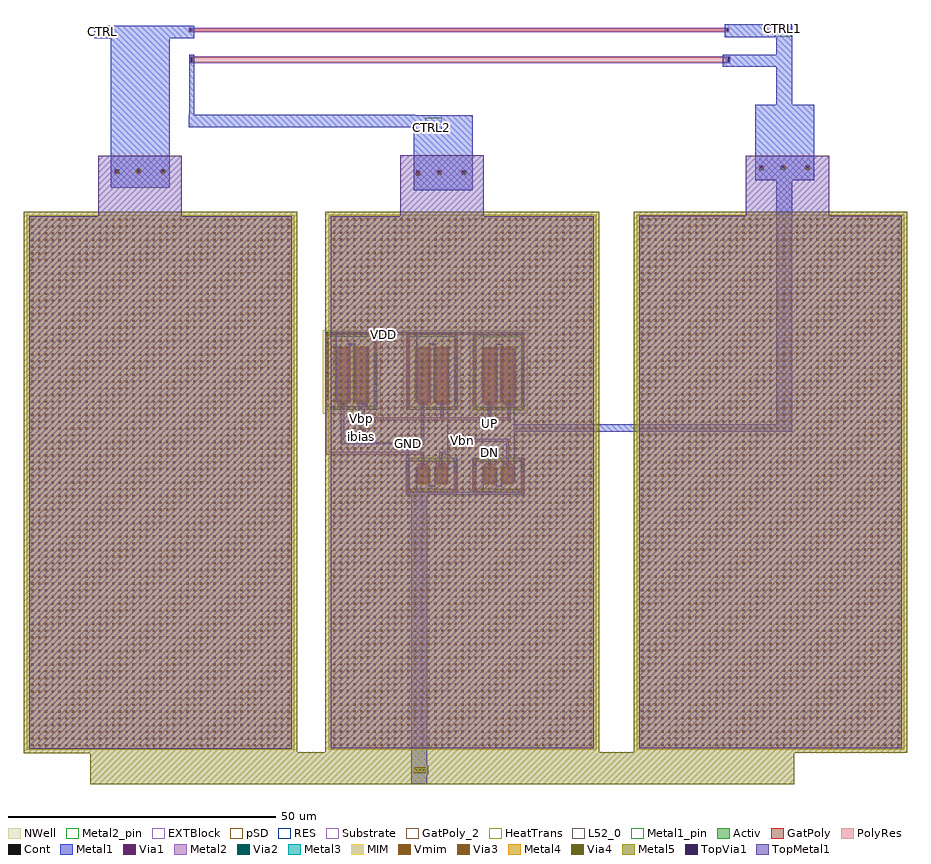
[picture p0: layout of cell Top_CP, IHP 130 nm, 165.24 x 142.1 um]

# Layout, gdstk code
from math import pi, radians
import gdstk
lib = gdstk.Library(unit=1e-6, precision=1e-09)
def R(c, l, rs):  # rectangles x0, y0, x1, y1
    for r in rs: c.add(gdstk.rectangle(r[:2], r[2:], *l))
def A(c, l, x, y, w, h, nx, ny, dx, dy):  # array of equal rectangles
    R(c, l, [(x+i*dx, y+j*dy, x+i*dx+w, y+j*dy+h) for i in range(nx) for j in range(ny)])
Activ = (1, 0)
GatPoly = (5, 0)
GatPoly_2 = (5, 2)
Cont = (6, 0)
Metal1 = (8, 0)
Metal1_pin = (8, 2)
Metal2 = (10, 0)
Metal2_pin = (10, 2)
pSD = (14, 0)
Via1 = (19, 0)
RES = (24, 0)
Via2 = (29, 0)
Metal3 = (30, 0)
NWell = (31, 0)
MIM = (36, 0)
Substrate = (40, 0)
Via3 = (49, 0)
Metal4 = (50, 0)
HeatTrans = (51, 0)
L52_0 = (52, 0)
Via4 = (66, 0)
Metal5 = (67, 0)
EXTBlock = (111, 0)
TopVia1 = (125, 0)
TopMetal1 = (126, 0)
PolyRes = (128, 0)
Vmim = (129, 0)

rsil_2 = lib.new_cell('rsil$2')
R(rsil_2, GatPoly, [(0,-0.35,1,0), (0,1,1,1.35)])
R(rsil_2, Cont, [(0.07,-0.28,0.93,-0.12), (0.07,1.12,0.93,1.28)])
R(rsil_2, Metal1, [(0.02,-0.33,0.98,-0.07), (0.02,1.07,0.98,1.33)])
R(rsil_2, Metal1_pin, [(0.02,-0.33,0.98,-0.07), (0.02,1.07,0.98,1.33)])
R(rsil_2, RES, [(0,0,1,1)])
R(rsil_2, L52_0, [(0,0,1,1)])
R(rsil_2, EXTBlock, [(-0.18,-0.53,1.18,0), (-0.18,0,1.18,1), (-0.18,0,1.18,1.53)])
R(rsil_2, PolyRes, [(0,0,1,1)])
rsil_2.add(gdstk.Label('rsil', (0.5,0.5), layer=52, texttype=0))
rsil_2.add(gdstk.Label('rsil r=15.9', (0.5,0.5), layer=63, texttype=0))

pmos_1 = lib.new_cell('pmos$1')
R(pmos_1, Activ, [(0,0,0.3,0.3), (0,0,2.68,10), (2.38,0,2.68,0.3)])
R(pmos_1, GatPoly, [(0.34,-0.18,2.34,10.18), (0.34,-0.18,2.34,10.18)])
A(pmos_1, Cont, 0.07, 0.07, 0.16, 0.16, 1, 4, 0, 0.345)
A(pmos_1, Cont, 2.45, 0.07, 0.16, 0.16, 1, 4, 0, 0.345)
A(pmos_1, Cont, 0.07, 1.455, 0.16, 0.16, 1, 3, 0, 0.345)
A(pmos_1, Cont, 2.45, 1.455, 0.16, 0.16, 1, 3, 0, 0.345)
A(pmos_1, Cont, 0.07, 2.495, 0.16, 0.16, 1, 4, 0, 0.345)
A(pmos_1, Cont, 2.45, 2.495, 0.16, 0.16, 1, 4, 0, 0.345)
A(pmos_1, Cont, 0.07, 3.88, 0.16, 0.16, 1, 3, 0, 0.345)
A(pmos_1, Cont, 2.45, 3.88, 0.16, 0.16, 1, 3, 0, 0.345)
A(pmos_1, Cont, 0.07, 4.92, 0.16, 0.16, 1, 4, 0, 0.345)
A(pmos_1, Cont, 2.45, 4.92, 0.16, 0.16, 1, 4, 0, 0.345)
A(pmos_1, Cont, 0.07, 6.305, 0.16, 0.16, 1, 3, 0, 0.345)
A(pmos_1, Cont, 2.45, 6.305, 0.16, 0.16, 1, 3, 0, 0.345)
A(pmos_1, Cont, 0.07, 7.345, 0.16, 0.16, 1, 4, 0, 0.345)
A(pmos_1, Cont, 2.45, 7.345, 0.16, 0.16, 1, 4, 0, 0.345)
A(pmos_1, Cont, 0.07, 8.73, 0.16, 0.16, 1, 3, 0, 0.345)
A(pmos_1, Cont, 2.45, 8.73, 0.16, 0.16, 1, 3, 0, 0.345)
R(pmos_1, Cont, [(0.07,9.77,0.23,9.93), (2.45,9.77,2.61,9.93)])
R(pmos_1, Metal1, [(0.07,0,0.23,10), (0.07,0,0.23,10), (2.45,0,2.61,10), (2.45,0,2.61,10)])
R(pmos_1, pSD, [(-0.18,-0.3,2.86,10.3)])
R(pmos_1, NWell, [(-0.31,-0.31,2.99,10.31)])
R(pmos_1, Substrate, [(2.38,0,2.68,0.3)])
R(pmos_1, HeatTrans, [(0.34,-0.18,2.34,10.18)])
pmos_1.add(gdstk.Label('pmos', (1.34,5), layer=63, texttype=0))
pmos_1.add(gdstk.Label('pmos', (1.34,5), layer=51, texttype=0))

nmos_1 = lib.new_cell('nmos$1')
R(nmos_1, Activ, [(0,0,0.3,0.3), (0,0,2.68,3), (2.38,0,2.68,0.3)])
R(nmos_1, GatPoly, [(0.34,-0.18,2.34,3.18)])
R(nmos_1, GatPoly_2, [(0.34,-0.18,2.34,3.18)])
A(nmos_1, Cont, 0.07, 0.07, 0.16, 0.16, 1, 7, 0, 0.385)
A(nmos_1, Cont, 2.45, 0.07, 0.16, 0.16, 1, 7, 0, 0.385)
R(nmos_1, Cont, [(0.07,2.77,0.23,2.93), (2.45,2.77,2.61,2.93)])
R(nmos_1, Metal1, [(0.07,0,0.23,3), (2.45,0,2.61,3)])
R(nmos_1, Metal1_pin, [(0.07,0,0.23,3), (2.45,0,2.61,3)])
R(nmos_1, HeatTrans, [(0.34,-0.18,2.34,3.18)])
nmos_1.add(gdstk.Label('nmos', (1.34,1.5), layer=63, texttype=0))
nmos_1.add(gdstk.Label('nmos', (1.34,1.5), layer=51, texttype=0))

rsil = lib.new_cell('rsil')
R(rsil, GatPoly, [(0,-0.35,0.5,0), (0,100,0.5,100.35)])
R(rsil, Cont, [(0.07,-0.28,0.43,-0.12), (0.07,100.12,0.43,100.28)])
R(rsil, Metal1, [(0.02,-0.33,0.48,-0.07), (0.02,100.07,0.48,100.33)])
R(rsil, Metal1_pin, [(0.02,-0.33,0.48,-0.07), (0.02,100.07,0.48,100.33)])
R(rsil, RES, [(0,0,0.5,100)])
R(rsil, L52_0, [(0,0,0.5,100)])
R(rsil, EXTBlock, [(-0.18,-0.53,0.68,0), (-0.18,0,0.68,100), (-0.18,0,0.68,100.53)])
R(rsil, PolyRes, [(0,0,0.5,100)])
rsil.add(gdstk.Label('rsil', (0.25,50), layer=52, texttype=0))
rsil.add(gdstk.Label('rsil r=1.39k', (0.25,50), layer=63, texttype=0))

rsil_3 = lib.new_cell('rsil$3')
R(rsil_3, GatPoly, [(0,-0.35,1,0), (0,100,1,100.35)])
R(rsil_3, Cont, [(0.07,-0.28,0.93,-0.12), (0.07,100.12,0.93,100.28)])
R(rsil_3, Metal1, [(0.02,-0.33,0.98,-0.07), (0.02,100.07,0.98,100.33)])
R(rsil_3, Metal1_pin, [(0.02,-0.33,0.98,-0.07), (0.02,100.07,0.98,100.33)])
R(rsil_3, RES, [(0,0,1,100)])
R(rsil_3, L52_0, [(0,0,1,100)])
R(rsil_3, EXTBlock, [(-0.18,-0.53,1.18,0), (-0.18,0,1.18,100), (-0.18,0,1.18,100.53)])
R(rsil_3, PolyRes, [(0,0,1,100)])
rsil_3.add(gdstk.Label('rsil', (0.5,50), layer=52, texttype=0))
rsil_3.add(gdstk.Label('rsil r=702', (0.5,50), layer=63, texttype=0))

cmim = lib.new_cell('cmim')
R(cmim, MIM, [(0,0,50,100)])
R(cmim, Metal5, [(-0.6,-0.6,50.6,100.6)])
R(cmim, TopMetal1, [(0.425,0.225,49.565,99.765)])
A(cmim, Vmim, 0.845, 0.645, 0.42, 0.42, 39, 79, 1.26, 1.26)

cmim_2 = lib.new_cell('cmim$2')
R(cmim_2, MIM, [(0,0,50,100)])
R(cmim_2, Metal5, [(-0.6,-0.6,50.6,100.6)])
R(cmim_2, TopMetal1, [(0.425,0.225,49.565,99.765)])
A(cmim_2, Vmim, 0.845, 0.645, 0.42, 0.42, 39, 79, 1.26, 1.26)

top_cp = lib.new_cell('Top_CP')
R(top_cp, Activ, [(-64.325,-0.345,-55.325,0.305), (-55.325,-0.345,-54.685,5.46), (-42.83,-0.345,-42.19,5.46), (-51.825,-0.34,-42.825,0.31), (-64.325,0.305,-63.685,6.095), (-51.83,0.305,-51.19,6.095), (-63.685,5.46,-54.685,6.1), (-51.19,5.46,-42.19,6.1), (-51.795,15.045,-51.155,29.335), (-51.155,15.045,-42.155,15.685), (-64.275,15.075,-63.635,29.365), (-63.635,15.075,-54.635,15.715), (-79.295,15.095,-78.655,29.385), (-78.655,15.095,-69.655,15.735), (-42.795,15.685,-42.155,28.695), (-55.275,15.715,-54.635,28.725), (-70.295,15.735,-69.655,28.745), (-51.155,28.695,-42.155,29.335), (-63.635,28.725,-54.635,29.365), (-78.655,28.745,-69.655,29.385)])
R(top_cp, GatPoly, [(-58.7,4.49,-56.735,5.01), (-46.205,4.49,-44.24,5.01), (-62.1,4.505,-60.135,5.025), (-49.605,4.505,-47.64,5.025), (-49.585,15.93,-47.67,16.45), (-62.03,15.96,-60.15,16.48), (-77.07,15.98,-75.17,16.5), (-45.97,15.995,-44.21,16.515), (-58.45,16.025,-56.755,16.545), (-73.47,16.045,-71.72,16.565)])
A(top_cp, Cont, -55.165, 0.485, 0.32, 0.32, 1, 5, 0, 0.71)
A(top_cp, Cont, -51.66, 0.485, 0.32, 0.32, 1, 5, 0, 0.71)
A(top_cp, Cont, -42.67, 0.485, 0.32, 0.32, 1, 5, 0, 0.71)
A(top_cp, Cont, -64.155, 1.195, 0.32, 0.32, 1, 4, 0, 0.71)
A(top_cp, Cont, -51.635, 17.58, 0.32, 0.32, 1, 5, 0, 0.71)
A(top_cp, Cont, -42.64, 17.585, 0.32, 0.32, 1, 5, 0, 0.71)
A(top_cp, Cont, -64.115, 17.61, 0.32, 0.32, 1, 5, 0, 0.71)
A(top_cp, Cont, -55.12, 17.615, 0.32, 0.32, 1, 5, 0, 0.71)
A(top_cp, Cont, -70.14, 17.635, 0.32, 0.32, 1, 5, 0, 0.71)
A(top_cp, Cont, -51.635, 21.805, 0.32, 0.32, 1, 5, 0, 0.71)
A(top_cp, Cont, -42.64, 21.81, 0.32, 0.32, 1, 5, 0, 0.71)
A(top_cp, Cont, -64.115, 21.835, 0.32, 0.32, 1, 5, 0, 0.71)
A(top_cp, Cont, -55.12, 21.84, 0.32, 0.32, 1, 5, 0, 0.71)
A(top_cp, Cont, -79.135, 21.855, 0.32, 0.32, 1, 5, 0, 0.71)
A(top_cp, Cont, -70.14, 21.86, 0.32, 0.32, 1, 5, 0, 0.71)
A(top_cp, Cont, -51.635, 26.015, 0.32, 0.32, 1, 5, 0, 0.71)
A(top_cp, Cont, -42.635, 26.015, 0.32, 0.32, 1, 5, 0, 0.71)
A(top_cp, Cont, -64.115, 26.045, 0.32, 0.32, 1, 5, 0, 0.71)
A(top_cp, Cont, -55.115, 26.045, 0.32, 0.32, 1, 5, 0, 0.71)
A(top_cp, Cont, -79.135, 26.065, 0.32, 0.32, 1, 5, 0, 0.71)
A(top_cp, Cont, -70.135, 26.065, 0.32, 0.32, 1, 5, 0, 0.71)
R(top_cp, Cont, [(-42.655,-0.19,-42.335,0.14), (-55.15,-0.165,-54.83,0.165), (-51.66,-0.105,-51.34,0.225), (-64.16,-0.01,-63.84,0.32), (-64.12,0.665,-63.8,0.985), (-64.135,4.065,-63.815,4.385), (-51.64,4.065,-51.32,4.385), (-55.18,4.095,-54.86,4.415), (-42.685,4.095,-42.365,4.415), (-57.955,4.63,-57.635,4.95), (-45.46,4.63,-45.14,4.95), (-61.355,4.645,-61.035,4.965), (-48.86,4.645,-48.54,4.965), (-64.135,4.775,-63.815,5.095), (-51.64,4.775,-51.32,5.095), (-55.18,4.805,-54.86,5.125), (-42.685,4.805,-42.365,5.125), (-61.37,16.1,-61.05,16.42), (-48.79,16.115,-48.47,16.435), (-45.15,16.115,-44.83,16.435), (-76.39,16.12,-76.07,16.44), (-57.69,16.125,-57.37,16.445), (-72.71,16.145,-72.39,16.465), (-51.635,16.9,-51.315,17.22), (-42.64,16.905,-42.32,17.225), (-64.115,16.93,-63.795,17.25), (-55.12,16.935,-54.8,17.255), (-79.135,16.95,-78.815,17.27), (-70.14,16.955,-69.82,17.275), (-79.135,17.63,-78.815,17.95), (-79.135,18.34,-78.815,18.66), (-79.135,19.035,-78.815,19.355), (-79.135,19.76,-78.815,20.08), (-79.135,20.47,-78.815,20.79), (-51.635,21.125,-51.315,21.445), (-42.64,21.13,-42.32,21.45), (-64.115,21.155,-63.795,21.475), (-55.12,21.16,-54.8,21.48), (-79.135,21.175,-78.815,21.495), (-70.14,21.18,-69.82,21.5), (-51.635,25.335,-51.315,25.655), (-42.645,25.335,-42.325,25.655), (-64.115,25.365,-63.795,25.685), (-55.125,25.365,-54.805,25.685), (-79.135,25.385,-78.815,25.705), (-70.145,25.385,-69.825,25.705)])
R(top_cp, Metal1, [(-63.35,-54.87,-60.325,-0.775), (-63.065,-53.11,-60.105,-51.36), (-64.325,-0.775,-63.685,6.095), (-63.685,-0.775,-55.325,-0.245), (-62.385,-0.775,-62.215,2.58), (-55.325,-0.775,-54.685,6.1), (-54.695,-0.775,-42.83,-0.245), (-49.89,-0.775,-49.72,2.58), (-42.83,-0.775,-42.19,6.1), (-51.83,-0.25,-51.19,6.095), (-60.01,0.68,-59.84,2.195), (-59.84,0.68,-58.985,1.07), (-58.985,0.68,-58.815,2.195), (-47.515,0.68,-47.345,2.195), (-47.345,0.68,-46.49,0.895), (-46.49,0.68,-46.32,2.195), (-44.11,2.395,-43.94,17.725), (-56.595,4.075,-56.425,6.37), (-61.415,4.51,-60.915,7.22), (-58.045,4.54,-57.545,7.245), (-45.59,4.545,-45.09,9.125), (-48.94,4.605,-48.44,7.31), (-56.6,4.76,-56.43,17.395), (-64.24,5.915,-63.74,8.625), (-57.545,6.785,-56.6,7.245), (-61.585,8.6,-60.905,16.475), (-75.865,8.625,-61.585,9.075), (-76.48,8.63,-75.865,16.53), (-56.6,9.125,-45.09,9.655), (-73.02,9.87,-71.91,11.4), (-43.94,10.99,7.93,12.365), (4.905,10.99,7.93,87.235), (-49.005,12.29,-48.325,16.49), (-73.145,12.355,-71.975,16.555), (-57.905,13.135,-57.225,16.5), (-45.365,13.135,-44.685,16.49), (-51.795,15.67,-51.155,29.615), (-42.795,15.685,-42.155,29.615), (-79.295,15.7,-78.655,29.665), (-64.275,15.7,-63.635,29.645), (-55.275,15.715,-54.635,29.645), (-70.295,15.735,-69.655,29.665), (-71.975,15.845,-71.605,16.08), (-71.605,15.845,-71.435,17.36), (-47.52,25.955,-47.35,27.475), (-46.485,25.96,-46.315,27.475), (-60,25.985,-59.83,27.505), (-58.965,25.99,-58.795,27.505), (-75.02,26.005,-74.85,27.525), (-73.985,26.01,-73.815,27.525), (-49.895,26.27,-49.725,29.625), (-62.375,26.3,-62.205,29.655), (-77.395,26.32,-77.225,29.675), (-74.85,27.195,-73.985,27.525), (-59.83,27.21,-58.965,27.505), (-47.35,27.225,-46.485,27.475), (-51.155,29.075,-42.795,29.615), (-63.635,29.105,-55.275,29.645), (-54.65,29.105,-48.625,29.635), (-78.655,29.125,-70.295,29.665), (-70.3,29.125,-64.275,29.655), (-62.81,56.11,-51.82,70.185), (-119.5,56.625,-108.51,86.935), (1.025,58.03,12.015,72.105), (-104.95,67.94,-62.705,70.31), (-104.865,70.31,-103.875,81.475), (-5.04,79.21,5.195,81.445), (-122.62,84.605,-103.86,86.935), (-4.7,84.77,5.085,87.23)])
R(top_cp, Metal1_pin, [(-48.94,6.85,-48.44,7.31), (-64.345,8.625,-62.875,9.075), (-54.435,9.125,-52.755,9.655), (-72.99,9.87,-71.91,10.67), (-49.005,12.29,-48.33,12.87), (-79.295,29.165,-42.155,29.615), (-60.66,67.42,-57.575,69.725), (-122.62,84.605,-119.535,86.91), (4.63,84.885,7.715,87.19)])
R(top_cp, Metal2, [(-64.325,-0.295,-63.685,3.455), (-55.325,-0.295,-54.685,3.365), (-51.83,-0.295,-51.19,3.455), (-42.83,-0.295,-42.19,3.365), (-79.305,6.695,-60.915,7.215), (-79.305,7.215,-78.665,29.345), (-72.925,13.135,-44.685,13.735), (-51.805,15.67,-51.165,29.295), (-64.285,15.7,-63.645,29.325), (-42.795,25.615,-42.155,29.305), (-55.275,25.645,-54.635,29.335), (-70.295,25.665,-69.655,29.355), (-62.335,59.185,-61.82,59.675), (-53.695,59.245,-53.18,59.735), (-58.305,59.28,-57.79,59.77), (-118.635,59.455,-118.12,59.945), (-109.995,59.515,-109.48,60.005), (-114.605,59.55,-114.09,60.04), (1.88,60.17,2.395,60.66), (10.52,60.23,11.035,60.72), (5.91,60.265,6.425,60.755)])
R(top_cp, Metal2_pin, [(-61.625,6.72,-60.925,7.175), (-57.93,13.135,-57.23,13.735), (-72.9,13.15,-71.975,13.735), (-45.36,13.155,-44.685,13.735)])
R(top_cp, pSD, [(-64.375,-0.405,-55.375,0.365), (-55.375,-0.405,-54.615,5.41), (-51.88,-0.405,-42.88,0.365), (-42.88,-0.405,-42.12,5.41), (-64.375,0.365,-63.615,6.17), (-51.88,0.365,-51.12,6.17), (-63.615,5.41,-54.615,6.17), (-51.12,5.41,-42.12,6.17)])
R(top_cp, Via1, [(-61.075,-52.325,-60.885,-52.135), (-62.46,-52.285,-62.27,-52.095), (-61.775,-52.27,-61.585,-52.08), (-61.225,6.885,-61.035,7.075), (-45.065,13.255,-44.875,13.445), (-72.685,13.38,-72.495,13.57), (-57.68,13.41,-57.49,13.6), (-79.09,17.375,-78.9,17.565), (-79.06,18.74,-78.87,18.93), (-79.065,20.22,-78.875,20.41), (-79.065,21.56,-78.875,21.75), (-79.04,23.005,-78.85,23.195), (-79.035,24.435,-78.845,24.625), (-79.07,25.79,-78.88,25.98), (-79.08,27.195,-78.89,27.385), (-79.165,28.715,-78.975,28.905), (-62.325,59.52,-62.135,59.71), (-53.685,59.58,-53.495,59.77), (-58.295,59.615,-58.105,59.805), (-118.625,59.79,-118.435,59.98), (-109.985,59.85,-109.795,60.04), (-114.595,59.885,-114.405,60.075), (1.89,60.505,2.08,60.695), (10.53,60.565,10.72,60.755), (5.92,60.6,6.11,60.79)])
R(top_cp, Via2, [(-61.075,-52.325,-60.885,-52.135), (-62.46,-52.285,-62.27,-52.095), (-61.775,-52.27,-61.585,-52.08), (-62.325,59.52,-62.135,59.71), (-53.685,59.58,-53.495,59.77), (-58.295,59.615,-58.105,59.805), (-118.625,59.79,-118.435,59.98), (-109.985,59.85,-109.795,60.04), (-114.595,59.885,-114.405,60.075), (1.89,60.505,2.08,60.695), (10.53,60.565,10.72,60.755), (5.92,60.6,6.11,60.79)])
R(top_cp, Metal3, [(-62.845,-52.84,-60.535,-51.72), (-62.405,59.185,-61.765,59.785), (-53.765,59.245,-53.125,59.845), (-58.375,59.28,-57.735,59.88), (-118.705,59.455,-118.065,60.055), (-110.065,59.515,-109.425,60.115), (-114.675,59.55,-114.035,60.15), (1.81,60.17,2.45,60.77), (10.45,60.23,11.09,60.83), (5.84,60.265,6.48,60.865)])
R(top_cp, NWell, [(-52.365,14.32,-41.565,29.965), (-64.845,14.35,-54.045,29.995), (-79.865,14.37,-69.065,30.015)])
R(top_cp, Via3, [(-61.075,-52.325,-60.885,-52.135), (-62.46,-52.285,-62.27,-52.095), (-61.775,-52.27,-61.585,-52.08), (-62.325,59.52,-62.135,59.71), (-53.685,59.58,-53.495,59.77), (-58.295,59.615,-58.105,59.805), (-118.625,59.79,-118.435,59.98), (-109.985,59.85,-109.795,60.04), (-114.595,59.885,-114.405,60.075), (1.89,60.505,2.08,60.695), (10.53,60.565,10.72,60.755), (5.92,60.6,6.11,60.79)])
R(top_cp, Metal4, [(-62.845,-52.78,-60.545,-51.75), (-62.405,59.165,-61.765,59.785), (-53.765,59.225,-53.125,59.845), (-58.375,59.26,-57.735,59.88), (-118.705,59.435,-118.065,60.055), (-110.065,59.495,-109.425,60.115), (-114.675,59.53,-114.035,60.15), (1.81,60.15,2.45,60.77), (10.45,60.21,11.09,60.83), (5.84,60.245,6.48,60.865)])
R(top_cp, Via4, [(-61.075,-52.325,-60.885,-52.135), (-62.46,-52.285,-62.27,-52.095), (-61.775,-52.27,-61.585,-52.08), (-62.325,59.52,-62.135,59.71), (-53.685,59.58,-53.495,59.77), (-58.295,59.615,-58.105,59.805), (-118.625,59.79,-118.435,59.98), (-109.985,59.85,-109.795,60.04), (-114.595,59.885,-114.405,60.075), (1.89,60.505,2.08,60.695), (10.53,60.565,10.72,60.755), (5.92,60.6,6.11,60.79)])
R(top_cp, Metal5, [(-123.35,-54.87,8.285,-48.96), (-62.845,-52.84,-60.545,-51.69), (-62.485,58.945,-61.645,59.785), (-53.845,59.005,-53.005,59.845), (-58.455,59.04,-57.615,59.88), (-118.785,59.215,-117.945,60.055), (-110.145,59.275,-109.305,60.115), (-114.755,59.31,-113.915,60.15), (1.73,59.93,2.57,60.77), (10.37,59.99,11.21,60.83), (5.76,60.025,6.6,60.865)])
R(top_cp, TopVia1, [(-62.32,59.29,-61.9,59.71), (-53.68,59.35,-53.26,59.77), (-58.29,59.385,-57.87,59.805), (-118.62,59.56,-118.2,59.98), (-109.98,59.62,-109.56,60.04), (-114.59,59.655,-114.17,60.075), (1.895,60.275,2.315,60.695), (10.535,60.335,10.955,60.755), (5.925,60.37,6.345,60.79)])
R(top_cp, TopMetal1, [(-121.845,51.25,-106.24,62.61), (-0.805,51.275,14.8,62.635), (-65.405,51.305,-49.8,62.665)])
top_cp.add(gdstk.Reference(rsil_2, (-73.01,11.445)))
top_cp.add(gdstk.Reference(pmos_1, (-62.44,16.585)))
top_cp.add(gdstk.Reference(pmos_1, (-59.03,16.585)))
top_cp.add(gdstk.Reference(pmos_1, (-77.46,16.605)))
top_cp.add(gdstk.Reference(nmos_1, (-62.44,1.36)))
top_cp.add(gdstk.Reference(nmos_1, (-59.055,1.355)))
top_cp.add(gdstk.Reference(pmos_1, (-74.05,16.605)))
top_cp.add(gdstk.Reference(pmos_1, (-46.55,16.555)))
top_cp.add(gdstk.Reference(pmos_1, (-49.96,16.555)))
top_cp.add(gdstk.Reference(nmos_1, (-49.945,1.36)))
top_cp.add(gdstk.Reference(nmos_1, (-46.56,1.355)))
top_cp.add(gdstk.Reference(rsil, (-4.39,85.885), rotation=pi/2))
top_cp.add(gdstk.Reference(rsil_3, (-104.18,81.045), rotation=3*pi/2))
top_cp.add(gdstk.Reference(cmim, (-78.75,-48.435)))
top_cp.add(gdstk.Reference(cmim, (-135.19,-48.49)))
top_cp.add(gdstk.Reference(cmim_2, (-21.155,-48.425)))
top_cp.add(gdstk.Label('CTRL1', (6.17,86.435), layer=8, texttype=2))
top_cp.add(gdstk.Label('CTRL2', (-59.5,67.92), layer=8, texttype=2))
top_cp.add(gdstk.Label('CTRL', (-121.1,85.75), layer=8, texttype=2))
top_cp.add(gdstk.Label('ibias', (-72.66,10.15), layer=8, texttype=2))
top_cp.add(gdstk.Label('VDD', (-68.475,29.165), layer=8, texttype=2))
top_cp.add(gdstk.Label('GND', (-63.755,8.735), layer=8, texttype=2))
top_cp.add(gdstk.Label('UP', (-48.705,12.515), layer=8, texttype=2))
top_cp.add(gdstk.Label('DN', (-48.74,7.04), layer=8, texttype=2))
top_cp.add(gdstk.Label('Vbn', (-53.785,9.3), layer=8, texttype=2))
top_cp.add(gdstk.Label('Vbp', (-72.59,13.43), layer=10, texttype=2))
top_cp.add(gdstk.Label('Vbp', (-45.07,13.4), layer=10, texttype=2))

lib.write_gds('Top_CP.gds')
